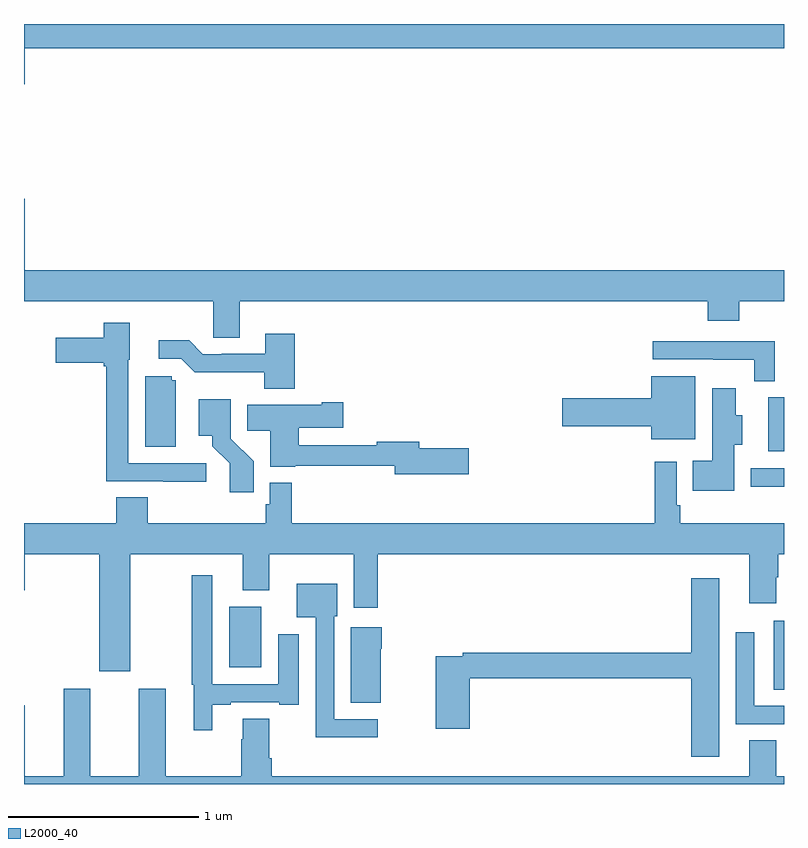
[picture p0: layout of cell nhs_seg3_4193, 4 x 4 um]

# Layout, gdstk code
import gdstk
lib = gdstk.Library(unit=1e-6, precision=1e-09)
def R(c, l, rs):  # rectangles x0, y0, x1, y1
    for r in rs: c.add(gdstk.rectangle(r[:2], r[2:], *l))
def P(c, l, *ps):  # polygons
    for p in ps: c.add(gdstk.Polygon(p, *l))
L2000_40 = (2000, 40)

nhs_seg3_4193 = lib.new_cell('nhs_seg3_4193')
R(nhs_seg3_4193, L2000_40, [(336.947,674.896,337,675.259), (334.079,675.014,334.249,675.334), (336.825,675.965,337,676.062), (336.917,676.151,337,676.435)])
P(nhs_seg3_4193, L2000_40, [(333.004,678.272),(337,678.272),(337,678.4),(333,678.4),(333,678.084),(333.004,678.084)],
  [(334.135,676.94),(336.599,676.94),(336.599,676.838),(336.764,676.838),(336.764,676.94),(337,676.94),(337,677.104),(333.004,677.104),(333.004,677.479),(333,677.479),(333,676.94),(333.996,676.94),(333.996,676.75),(334.135,676.75)],
  [(333.958,676.089),(333.549,676.089),(333.549,676.632),(333.556,676.632),(333.556,676.828),(333.42,676.828),(333.42,676.75),(333.168,676.75),(333.168,676.616),(333.42,676.616),(333.42,676.598),(333.433,676.598),(333.433,675.993),(333.733,675.993),(333.733,675.991),(333.958,675.991)],
  [(334.424,676.771),(334.271,676.771),(334.271,676.665),(334.042,676.665),(334.042,676.662),(333.942,676.662),(333.869,676.735),(333.708,676.735),(333.708,676.638),(333.828,676.638),(333.899,676.568),(334.264,676.568),(334.264,676.481),(334.424,676.481)],
  [(336.952,676.731),(336.309,676.731),(336.309,676.635),(336.628,676.635),(336.628,676.634),(336.843,676.634),(336.843,676.52),(336.952,676.52)],
  [(336.532,676.546),(336.302,676.546),(336.302,676.43),(335.832,676.43),(335.832,676.283),(336.302,676.283),(336.302,676.214),(336.532,676.214)],
  [(333.799,676.524),(333.777,676.524),(333.777,676.545),(333.638,676.545),(333.638,676.176),(333.799,676.176)],
  [(336.739,676.186),(336.781,676.186),(336.781,676.341),(336.745,676.341),(336.745,676.483),(336.623,676.483),(336.623,676.102),(336.52,676.102),(336.52,675.944),(336.739,675.944)],
  [(334.208,676.098),(334.089,676.217),(334.089,676.426),(333.92,676.426),(333.92,676.232),(333.992,676.232),(333.992,676.177),(334.083,676.087),(334.083,675.936),(334.208,675.936)],
  [(335.341,676.166),(335.08,676.166),(335.08,676.202),(334.856,676.202),(334.856,676.182),(334.445,676.182),(334.445,676.274),(334.681,676.274),(334.681,676.409),(334.568,676.409),(334.568,676.396),(334.174,676.396),(334.174,676.258),(334.295,676.258),(334.295,676.07),(334.428,676.07),(334.428,676.074),(334.952,676.074),(334.952,676.031),(335.341,676.031)],
  [(333.559,675.608),(334.151,675.608),(334.151,675.419),(334.291,675.419),(334.291,675.608),(334.736,675.608),(334.736,675.327),(334.862,675.327),(334.862,675.608),(336.818,675.608),(336.818,675.351),(336.958,675.351),(336.958,675.488),(336.971,675.488),(336.971,675.608),(337,675.608),(337,675.772),(336.455,675.772),(336.455,675.868),(336.435,675.868),(336.435,676.096),(336.319,676.096),(336.319,675.772),(334.409,675.772),(334.409,675.985),(334.293,675.985),(334.293,675.873),(334.273,675.873),(334.273,675.772),(333.65,675.772),(333.65,675.908),(333.485,675.908),(333.485,675.772),(333,675.772),(333,675.42),(333.004,675.42),(333.004,675.608),(333.395,675.608),(333.395,674.994),(333.559,674.994)],
  [(333.991,674.817),(334.087,674.817),(334.087,674.829),(334.343,674.829),(334.343,674.817),(334.447,674.817),(334.447,675.187),(334.337,675.187),(334.337,674.925),(333.99,674.925),(333.99,675.499),(333.882,675.499),(333.882,674.922),(333.893,674.922),(333.893,674.682),(333.991,674.682)],
  [(336.658,675.484),(336.512,675.484),(336.512,675.092),(335.308,675.092),(335.308,675.072),(335.167,675.072),(335.167,674.691),(335.345,674.691),(335.345,674.956),(336.512,674.956),(336.512,674.544),(336.658,674.544)],
  [(334.861,674.742),(334.632,674.742),(334.632,675.282),(334.648,675.282),(334.648,675.454),(334.436,675.454),(334.436,675.278),(334.536,675.278),(334.536,674.645),(334.861,674.645)],
  [(334.878,675.113),(334.883,675.113),(334.883,675.226),(334.721,675.226),(334.721,674.827),(334.878,674.827)],
  [(337,674.811),(336.843,674.811),(336.843,675.199),(336.747,675.199),(336.747,674.715),(337,674.715)],
  [(337,674.44),(336.958,674.44),(336.958,674.63),(336.818,674.63),(336.818,674.44),(334.304,674.44),(334.304,674.536),(334.291,674.536),(334.291,674.744),(334.151,674.744),(334.151,674.636),(334.144,674.636),(334.144,674.44),(333.745,674.44),(333.745,674.902),(333.605,674.902),(333.605,674.44),(333.349,674.44),(333.349,674.902),(333.209,674.902),(333.209,674.44),(333.004,674.44),(333.004,674.815),(333,674.815),(333,674.4),(337,674.4)])

lib.write_gds('nhs_seg3_4193.gds')
